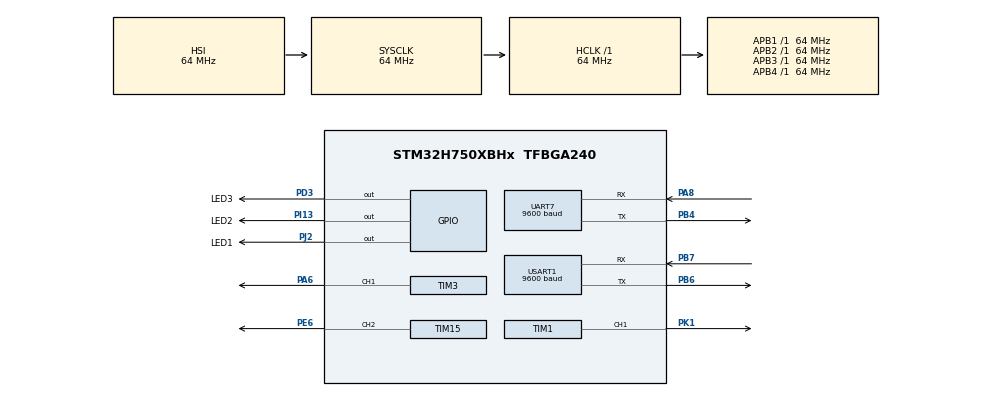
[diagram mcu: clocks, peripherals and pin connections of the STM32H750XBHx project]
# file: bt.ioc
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Mcu.Family=STM32H7
Mcu.Name=STM32H750XBHx
Mcu.Package=TFBGA240
NVIC.PriorityGroup=NVIC_PRIORITYGROUP_4
NVIC.UART7_IRQn=true\:0\:0\:false\:false\:true\:true\:true\:true
NVIC.USART1_IRQn=true\:0\:0\:false\:false\:true\:true\:true\:true
PA6.Signal=S_TIM3_CH1
PA8.Mode=Asynchronous
PA8.Signal=UART7_RX
PB4\ (NJTRST).Mode=Asynchronous
PB4\ (NJTRST).Signal=UART7_TX
PB6.Mode=Asynchronous
PB6.Signal=USART1_TX
PB7.Mode=Asynchronous
PB7.Signal=USART1_RX
PC14-OSC32_IN\ (OSC32_IN).Mode=LSE-External-Clock-Source
PC14-OSC32_IN\ (OSC32_IN).Signal=RCC_OSC32_IN
PD3.GPIO_Label=LED3
PD3.Signal=GPIO_Output
PE6.Signal=S_TIM15_CH2
PH0-OSC_IN\ (PH0).Mode=HSE-External-Clock-Source
PH0-OSC_IN\ (PH0).Signal=RCC_OSC_IN
PI13.GPIO_Label=LED2
PI13.Signal=GPIO_Output
PJ2.GPIO_Label=LED1
PJ2.Signal=GPIO_Output
PK1.Signal=S_TIM1_CH1
ProjectManager.HeapSize=0x200
ProjectManager.StackSize=0x400
ProjectManager.TargetToolchain=STM32CubeIDE
RCC.ADCFreq_Value=30000000
RCC.APB1Freq_Value=64000000
RCC.APB2Freq_Value=64000000
RCC.APB3Freq_Value=64000000
RCC.APB4Freq_Value=64000000
RCC.CortexFreq_Value=64000000
RCC.DIVM1=22
RCC.DIVM2=2
RCC.DIVN1=169
RCC.DIVN2=12
RCC.DIVN3=192
RCC.DIVP2=5
RCC.DIVQ1=4
RCC.HCLKFreq_Value=64000000
RCC.PLL2FRACN=0
RCC.PLL3FRACN=0
RCC.PLLFRACN=0
RCC.PLLSourceVirtual=RCC_PLLSOURCE_HSE
RCC.PWR_Regulator_Voltage_Scale=PWR_REGULATOR_VOLTAGE_SCALE2
RCC.SYSCLKFreq_VALUE=64000000
RCC.USBFreq_Value=48011363.63636364
SH.S_TIM15_CH2.0=TIM15_CH2,PWM Generation2 CH2
SH.S_TIM1_CH1.0=TIM1_CH1,PWM Generation1 CH1
SH.S_TIM3_CH1.0=TIM3_CH1,PWM Generation1 CH1
TIM1.Channel-PWM\ Generation1\ CH1=TIM_CHANNEL_1
TIM1.Period=255
TIM15.Channel-PWM\ Generation2\ CH2=TIM_CHANNEL_2
TIM15.Period=255
TIM3.Channel-PWM\ Generation1\ CH1=TIM_CHANNEL_1
TIM3.Period=255
UART7.BaudRate=9600
USART1.BaudRate=9600
USART1.VirtualMode-Asynchronous=VM_ASYNC
board=STM32H750B-DK

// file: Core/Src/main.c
/* USER CODE BEGIN Header */
/**
  ******************************************************************************
  * @file           : main.c
  * @brief          : Main program body
  ******************************************************************************
  * @attention
  *
  * Copyright (c) 2024 STMicroelectronics.
  * All rights reserved.
  *
  * This software is licensed under terms that can be found in the LICENSE file
  * in the root directory of this software component.
  * If no LICENSE file comes with this software, it is provided AS-IS.
  *
  ******************************************************************************
  */
/* USER CODE END Header */
#include "main.h"

/* USER CODE BEGIN Includes */
#include "string.h"
#include "stdio.h"
#include "string.h"
#include <stdlib.h>

/* USER CODE END Includes */

TIM_HandleTypeDef htim1;
TIM_HandleTypeDef htim3;
TIM_HandleTypeDef htim15;

UART_HandleTypeDef huart7;
UART_HandleTypeDef huart1;

void SystemClock_Config(void);
static void MX_GPIO_Init(void);
static void MX_USART1_UART_Init(void);
static void MX_UART7_Init(void);
static void MX_TIM1_Init(void);
static void MX_TIM3_Init(void);
static void MX_TIM15_Init(void);

/* USER CODE BEGIN 0 */
#define BUFFER_SIZE 64

uint8_t Data_UART7[BUFFER_SIZE];
uint8_t Data_USART1[BUFFER_SIZE];
uint16_t write_index_UART7 = 0;
uint16_t write_index_USART1 = 0;

void SetRGB(uint8_t red, uint8_t green, uint8_t blue);

/*
void ClearTxBuffer(void)
{
    // Clear the TxBuffer using memset
    memset(Data_USART1, 0, sizeof(Data_USART1));
    memset(Data_UART7, 0, sizeof(Data_UART7));

}*/

void SetRGB(uint8_t red, uint8_t green, uint8_t blue)
{
	/*
	 *    HAL_TIM_PWM_Start(&htim1, TIM_CHANNEL_1);
  	  	  HAL_TIM_PWM_Start(&htim3, TIM_CHANNEL_1);
  	  	  HAL_TIM_PWM_Start(&htim15, TIM_CHANNEL_2);
	 */
  __HAL_TIM_SET_COMPARE(&htim1, TIM_CHANNEL_1, red);
  __HAL_TIM_SET_COMPARE(&htim3, TIM_CHANNEL_1, green);
  __HAL_TIM_SET_COMPARE(&htim15, TIM_CHANNEL_2, blue);
}

void ParseAndSetRGB(uint8_t *data)
{
    char *token;
    uint8_t rgb[3];
    int i = 0;

    token = strtok((char *)data, ",");
    while (token != NULL && i < 3)
    {
        rgb[i++] = atoi(token);
        token = strtok(NULL, ",");
    }

    if (i == 3) // Ensure we have all three RGB values
    {
        SetRGB(rgb[0], rgb[1], rgb[2]);
    }
}

void HAL_UARTEx_RxEventCallback(UART_HandleTypeDef *huart, uint16_t Size)
{
    if (huart->Instance == UART7) // UART7 connection with Bluetooth
    {
        Data_UART7[Size] = '\0'; // Null-terminate the received string

        // Continue receiving data in interrupt mode
        HAL_UARTEx_ReceiveToIdle_IT(&huart7, Data_UART7 , BUFFER_SIZE );
    }

    if (huart->Instance == USART1) // UART7 connection with Bluetooth
    {

        // Continue receiving data in interrupt mode
        HAL_UARTEx_ReceiveToIdle_IT(&huart1, Data_USART1 , BUFFER_SIZE );
    }

}

void SendDataToBluetooth(uint8_t *data, uint16_t size)
{
    HAL_UART_Transmit(&huart7, data, size, HAL_MAX_DELAY);
}

uint8_t message[] = "Hello Bluetooth!";

/* USER CODE END 0 */

int main(void)
{

  /* MCU Configuration--------------------------------------------------------*/

  /* Reset of all peripherals, Initializes the Flash interface and the Systick. */
  HAL_Init();

  /* Configure the system clock */
  SystemClock_Config();

  /* Initialize all configured peripherals */
  MX_GPIO_Init();
  MX_USART1_UART_Init();
  MX_UART7_Init();
  MX_TIM1_Init();
  MX_TIM3_Init();
  MX_TIM15_Init();
  /* USER CODE BEGIN 2 */

  HAL_UARTEx_ReceiveToIdle_IT(&huart1, Data_USART1, BUFFER_SIZE);
  HAL_UARTEx_ReceiveToIdle_IT(&huart7, Data_UART7, BUFFER_SIZE);

  HAL_TIM_PWM_Start(&htim1, TIM_CHANNEL_1);
  HAL_TIM_PWM_Start(&htim3, TIM_CHANNEL_1);
  HAL_TIM_PWM_Start(&htim15, TIM_CHANNEL_2);

  /* USER CODE END 2 */

  /* Infinite loop */
  while (1)
  {
      ParseAndSetRGB(Data_UART7);

    /* USER CODE BEGIN 3 */
      //SendDataToBluetooth(message, sizeof(message) - 1); // Sending data
      //SetRGB(255, 0, 0);
/*
	  HAL_UART_Receive(&huart7, Data_UART7, BUFFER_SIZE, HAL_MAX_DELAY);

	          // Process received data (assuming Data_UART7 contains valid RGB values as string or numbers)
	          uint8_t red, green, blue;
	          // Example conversion from string to integers
	          red = atoi(Data_UART7);  // Convert first part of received data to integer
	          green = atoi(Data_UART7 + strlen(Data_UART7) + 1);  // Convert second part (if needed)
	          blue = atoi(Data_UART7 + 2 * (strlen(Data_UART7) + 1));  // Convert third part (if needed)

	          // Set RGB LED colors
	          SetRGB(red, green, blue);*/
  }
  /* USER CODE END 3 */
}

void SystemClock_Config(void)
{
  RCC_OscInitTypeDef RCC_OscInitStruct = {0};
  RCC_ClkInitTypeDef RCC_ClkInitStruct = {0};

  /** Supply configuration update enable
  */
  HAL_PWREx_ConfigSupply(PWR_LDO_SUPPLY);

  /** Configure the main internal regulator output voltage
  */
  __HAL_PWR_VOLTAGESCALING_CONFIG(PWR_REGULATOR_VOLTAGE_SCALE2);

  while(!__HAL_PWR_GET_FLAG(PWR_FLAG_VOSRDY)) {}

  /** Initializes the RCC Oscillators according to the specified parameters
  * in the RCC_OscInitTypeDef structure.
  */
  RCC_OscInitStruct.OscillatorType = RCC_OSCILLATORTYPE_HSI;
  RCC_OscInitStruct.HSIState = RCC_HSI_DIV1;
  RCC_OscInitStruct.HSICalibrationValue = RCC_HSICALIBRATION_DEFAULT;
  RCC_OscInitStruct.PLL.PLLState = RCC_PLL_NONE;
  if (HAL_RCC_OscConfig(&RCC_OscInitStruct) != HAL_OK)
  {
    Error_Handler();
  }

  /** Initializes the CPU, AHB and APB buses clocks
  */
  RCC_ClkInitStruct.ClockType = RCC_CLOCKTYPE_HCLK|RCC_CLOCKTYPE_SYSCLK
                              |RCC_CLOCKTYPE_PCLK1|RCC_CLOCKTYPE_PCLK2
                              |RCC_CLOCKTYPE_D3PCLK1|RCC_CLOCKTYPE_D1PCLK1;
  RCC_ClkInitStruct.SYSCLKSource = RCC_SYSCLKSOURCE_HSI;
  RCC_ClkInitStruct.SYSCLKDivider = RCC_SYSCLK_DIV1;
  RCC_ClkInitStruct.AHBCLKDivider = RCC_HCLK_DIV1;
  RCC_ClkInitStruct.APB3CLKDivider = RCC_APB3_DIV1;
  RCC_ClkInitStruct.APB1CLKDivider = RCC_APB1_DIV1;
  RCC_ClkInitStruct.APB2CLKDivider = RCC_APB2_DIV1;
  RCC_ClkInitStruct.APB4CLKDivider = RCC_APB4_DIV1;

  if (HAL_RCC_ClockConfig(&RCC_ClkInitStruct, FLASH_LATENCY_1) != HAL_OK)
  {
    Error_Handler();
  }
}

static void MX_TIM1_Init(void)
{

  TIM_MasterConfigTypeDef sMasterConfig = {0};
  TIM_OC_InitTypeDef sConfigOC = {0};
  TIM_BreakDeadTimeConfigTypeDef sBreakDeadTimeConfig = {0};

  htim1.Instance = TIM1;
  htim1.Init.Prescaler = 0;
  htim1.Init.CounterMode = TIM_COUNTERMODE_UP;
  htim1.Init.Period = 255;
  htim1.Init.ClockDivision = TIM_CLOCKDIVISION_DIV1;
  htim1.Init.RepetitionCounter = 0;
  htim1.Init.AutoReloadPreload = TIM_AUTORELOAD_PRELOAD_DISABLE;
  if (HAL_TIM_PWM_Init(&htim1) != HAL_OK)
  {
    Error_Handler();
  }
  sMasterConfig.MasterOutputTrigger = TIM_TRGO_RESET;
  sMasterConfig.MasterOutputTrigger2 = TIM_TRGO2_RESET;
  sMasterConfig.MasterSlaveMode = TIM_MASTERSLAVEMODE_DISABLE;
  if (HAL_TIMEx_MasterConfigSynchronization(&htim1, &sMasterConfig) != HAL_OK)
  {
    Error_Handler();
  }
  sConfigOC.OCMode = TIM_OCMODE_PWM1;
  sConfigOC.Pulse = 0;
  sConfigOC.OCPolarity = TIM_OCPOLARITY_HIGH;
  sConfigOC.OCNPolarity = TIM_OCNPOLARITY_HIGH;
  sConfigOC.OCFastMode = TIM_OCFAST_DISABLE;
  sConfigOC.OCIdleState = TIM_OCIDLESTATE_RESET;
  sConfigOC.OCNIdleState = TIM_OCNIDLESTATE_RESET;
  if (HAL_TIM_PWM_ConfigChannel(&htim1, &sConfigOC, TIM_CHANNEL_1) != HAL_OK)
  {
    Error_Handler();
  }
  sBreakDeadTimeConfig.OffStateRunMode = TIM_OSSR_DISABLE;
  sBreakDeadTimeConfig.OffStateIDLEMode = TIM_OSSI_DISABLE;
  sBreakDeadTimeConfig.LockLevel = TIM_LOCKLEVEL_OFF;
  sBreakDeadTimeConfig.DeadTime = 0;
  sBreakDeadTimeConfig.BreakState = TIM_BREAK_DISABLE;
  sBreakDeadTimeConfig.BreakPolarity = TIM_BREAKPOLARITY_HIGH;
  sBreakDeadTimeConfig.BreakFilter = 0;
  sBreakDeadTimeConfig.Break2State = TIM_BREAK2_DISABLE;
  sBreakDeadTimeConfig.Break2Polarity = TIM_BREAK2POLARITY_HIGH;
  sBreakDeadTimeConfig.Break2Filter = 0;
  sBreakDeadTimeConfig.AutomaticOutput = TIM_AUTOMATICOUTPUT_DISABLE;
  if (HAL_TIMEx_ConfigBreakDeadTime(&htim1, &sBreakDeadTimeConfig) != HAL_OK)
  {
    Error_Handler();
  }
  HAL_TIM_MspPostInit(&htim1);

}

static void MX_TIM3_Init(void)
{

  TIM_MasterConfigTypeDef sMasterConfig = {0};
  TIM_OC_InitTypeDef sConfigOC = {0};

  htim3.Instance = TIM3;
  htim3.Init.Prescaler = 0;
  htim3.Init.CounterMode = TIM_COUNTERMODE_UP;
  htim3.Init.Period = 255;
  htim3.Init.ClockDivision = TIM_CLOCKDIVISION_DIV1;
  htim3.Init.AutoReloadPreload = TIM_AUTORELOAD_PRELOAD_DISABLE;
  if (HAL_TIM_PWM_Init(&htim3) != HAL_OK)
  {
    Error_Handler();
  }
  sMasterConfig.MasterOutputTrigger = TIM_TRGO_RESET;
  sMasterConfig.MasterSlaveMode = TIM_MASTERSLAVEMODE_DISABLE;
  if (HAL_TIMEx_MasterConfigSynchronization(&htim3, &sMasterConfig) != HAL_OK)
  {
    Error_Handler();
  }
  sConfigOC.OCMode = TIM_OCMODE_PWM1;
  sConfigOC.Pulse = 0;
  sConfigOC.OCPolarity = TIM_OCPOLARITY_HIGH;
  sConfigOC.OCFastMode = TIM_OCFAST_DISABLE;
  if (HAL_TIM_PWM_ConfigChannel(&htim3, &sConfigOC, TIM_CHANNEL_1) != HAL_OK)
  {
    Error_Handler();
  }
  HAL_TIM_MspPostInit(&htim3);

}

static void MX_TIM15_Init(void)
{

  TIM_MasterConfigTypeDef sMasterConfig = {0};
  TIM_OC_InitTypeDef sConfigOC = {0};
  TIM_BreakDeadTimeConfigTypeDef sBreakDeadTimeConfig = {0};

  htim15.Instance = TIM15;
  htim15.Init.Prescaler = 0;
  htim15.Init.CounterMode = TIM_COUNTERMODE_UP;
  htim15.Init.Period = 255;
  htim15.Init.ClockDivision = TIM_CLOCKDIVISION_DIV1;
  htim15.Init.RepetitionCounter = 0;
  htim15.Init.AutoReloadPreload = TIM_AUTORELOAD_PRELOAD_DISABLE;
  if (HAL_TIM_PWM_Init(&htim15) != HAL_OK)
  {
    Error_Handler();
  }
  sMasterConfig.MasterOutputTrigger = TIM_TRGO_RESET;
  sMasterConfig.MasterSlaveMode = TIM_MASTERSLAVEMODE_DISABLE;
  if (HAL_TIMEx_MasterConfigSynchronization(&htim15, &sMasterConfig) != HAL_OK)
  {
    Error_Handler();
  }
  sConfigOC.OCMode = TIM_OCMODE_PWM1;
  sConfigOC.Pulse = 0;
  sConfigOC.OCPolarity = TIM_OCPOLARITY_HIGH;
  sConfigOC.OCNPolarity = TIM_OCNPOLARITY_HIGH;
  sConfigOC.OCFastMode = TIM_OCFAST_DISABLE;
  sConfigOC.OCIdleState = TIM_OCIDLESTATE_RESET;
  sConfigOC.OCNIdleState = TIM_OCNIDLESTATE_RESET;
  if (HAL_TIM_PWM_ConfigChannel(&htim15, &sConfigOC, TIM_CHANNEL_2) != HAL_OK)
  {
    Error_Handler();
  }
  sBreakDeadTimeConfig.OffStateRunMode = TIM_OSSR_DISABLE;
  sBreakDeadTimeConfig.OffStateIDLEMode = TIM_OSSI_DISABLE;
  sBreakDeadTimeConfig.LockLevel = TIM_LOCKLEVEL_OFF;
  sBreakDeadTimeConfig.DeadTime = 0;
  sBreakDeadTimeConfig.BreakState = TIM_BREAK_DISABLE;
  sBreakDeadTimeConfig.BreakPolarity = TIM_BREAKPOLARITY_HIGH;
  sBreakDeadTimeConfig.BreakFilter = 0;
  sBreakDeadTimeConfig.AutomaticOutput = TIM_AUTOMATICOUTPUT_DISABLE;
  if (HAL_TIMEx_ConfigBreakDeadTime(&htim15, &sBreakDeadTimeConfig) != HAL_OK)
  {
    Error_Handler();
  }
  HAL_TIM_MspPostInit(&htim15);

}

static void MX_UART7_Init(void)
{

  huart7.Instance = UART7;
  huart7.Init.BaudRate = 9600;
  huart7.Init.WordLength = UART_WORDLENGTH_8B;
  huart7.Init.StopBits = UART_STOPBITS_1;
  huart7.Init.Parity = UART_PARITY_NONE;
  huart7.Init.Mode = UART_MODE_TX_RX;
  huart7.Init.HwFlowCtl = UART_HWCONTROL_NONE;
  huart7.Init.OverSampling = UART_OVERSAMPLING_16;
  huart7.Init.OneBitSampling = UART_ONE_BIT_SAMPLE_DISABLE;
  huart7.Init.ClockPrescaler = UART_PRESCALER_DIV1;
  huart7.AdvancedInit.AdvFeatureInit = UART_ADVFEATURE_NO_INIT;
  if (HAL_UART_Init(&huart7) != HAL_OK)
  {
    Error_Handler();
  }
  if (HAL_UARTEx_SetTxFifoThreshold(&huart7, UART_TXFIFO_THRESHOLD_1_8) != HAL_OK)
  {
    Error_Handler();
  }
  if (HAL_UARTEx_SetRxFifoThreshold(&huart7, UART_RXFIFO_THRESHOLD_1_8) != HAL_OK)
  {
    Error_Handler();
  }
  if (HAL_UARTEx_DisableFifoMode(&huart7) != HAL_OK)
  {
    Error_Handler();
  }

}

static void MX_USART1_UART_Init(void)
{

  huart1.Instance = USART1;
  huart1.Init.BaudRate = 9600;
  huart1.Init.WordLength = UART_WORDLENGTH_8B;
  huart1.Init.StopBits = UART_STOPBITS_1;
  huart1.Init.Parity = UART_PARITY_NONE;
  huart1.Init.Mode = UART_MODE_TX_RX;
  huart1.Init.HwFlowCtl = UART_HWCONTROL_NONE;
  huart1.Init.OverSampling = UART_OVERSAMPLING_16;
  huart1.Init.OneBitSampling = UART_ONE_BIT_SAMPLE_DISABLE;
  huart1.Init.ClockPrescaler = UART_PRESCALER_DIV1;
  huart1.AdvancedInit.AdvFeatureInit = UART_ADVFEATURE_NO_INIT;
  if (HAL_UART_Init(&huart1) != HAL_OK)
  {
    Error_Handler();
  }
  if (HAL_UARTEx_SetTxFifoThreshold(&huart1, UART_TXFIFO_THRESHOLD_1_8) != HAL_OK)
  {
    Error_Handler();
  }
  if (HAL_UARTEx_SetRxFifoThreshold(&huart1, UART_RXFIFO_THRESHOLD_1_8) != HAL_OK)
  {
    Error_Handler();
  }
  if (HAL_UARTEx_DisableFifoMode(&huart1) != HAL_OK)
  {
    Error_Handler();
  }

}

static void MX_GPIO_Init(void)
{
  GPIO_InitTypeDef GPIO_InitStruct = {0};

  /* GPIO Ports Clock Enable */
  __HAL_RCC_GPIOB_CLK_ENABLE();
  __HAL_RCC_GPIOD_CLK_ENABLE();
  __HAL_RCC_GPIOC_CLK_ENABLE();
  __HAL_RCC_GPIOE_CLK_ENABLE();
  __HAL_RCC_GPIOA_CLK_ENABLE();
  __HAL_RCC_GPIOI_CLK_ENABLE();
  __HAL_RCC_GPIOH_CLK_ENABLE();
  __HAL_RCC_GPIOK_CLK_ENABLE();
  __HAL_RCC_GPIOJ_CLK_ENABLE();

  /*Configure GPIO pin Output Level */
  HAL_GPIO_WritePin(LED3_GPIO_Port, LED3_Pin, GPIO_PIN_RESET);

  /*Configure GPIO pin Output Level */
  HAL_GPIO_WritePin(LED2_GPIO_Port, LED2_Pin, GPIO_PIN_RESET);

  /*Configure GPIO pin Output Level */
  HAL_GPIO_WritePin(LED1_GPIO_Port, LED1_Pin, GPIO_PIN_RESET);

  /*Configure GPIO pin : LED3_Pin */
  GPIO_InitStruct.Pin = LED3_Pin;
  GPIO_InitStruct.Mode = GPIO_MODE_OUTPUT_PP;
  GPIO_InitStruct.Pull = GPIO_NOPULL;
  GPIO_InitStruct.Speed = GPIO_SPEED_FREQ_LOW;
  HAL_GPIO_Init(LED3_GPIO_Port, &GPIO_InitStruct);

  /*Configure GPIO pin : LED2_Pin */
  GPIO_InitStruct.Pin = LED2_Pin;
  GPIO_InitStruct.Mode = GPIO_MODE_OUTPUT_PP;
  GPIO_InitStruct.Pull = GPIO_NOPULL;
  GPIO_InitStruct.Speed = GPIO_SPEED_FREQ_LOW;
  HAL_GPIO_Init(LED2_GPIO_Port, &GPIO_InitStruct);

  /*Configure GPIO pin : LED1_Pin */
  GPIO_InitStruct.Pin = LED1_Pin;
  GPIO_InitStruct.Mode = GPIO_MODE_OUTPUT_PP;
  GPIO_InitStruct.Pull = GPIO_NOPULL;
  GPIO_InitStruct.Speed = GPIO_SPEED_FREQ_LOW;
  HAL_GPIO_Init(LED1_GPIO_Port, &GPIO_InitStruct);

}

void Error_Handler(void)
{
  __disable_irq();
  while (1)
  {
  }
}
